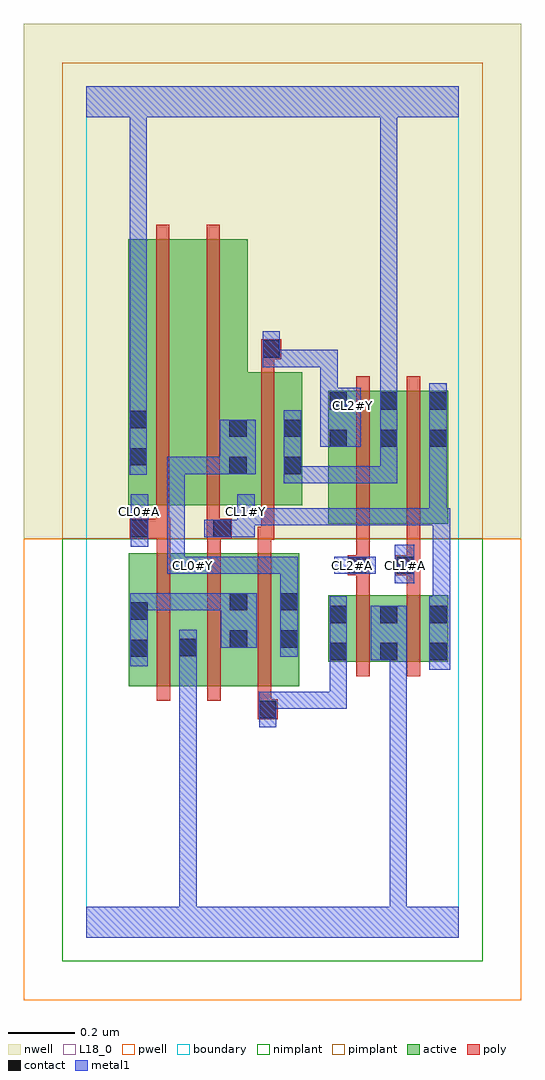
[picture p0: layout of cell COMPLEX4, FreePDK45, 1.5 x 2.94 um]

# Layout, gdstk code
import gdstk
lib = gdstk.Library(unit=1e-6, precision=1e-09)
def R(c, l, rs):  # rectangles x0, y0, x1, y1
    for r in rs: c.add(gdstk.rectangle(r[:2], r[2:], *l))
def A(c, l, x, y, w, h, nx, ny, dx, dy):  # array of equal rectangles
    R(c, l, [(x+i*dx, y+j*dy, x+i*dx+w, y+j*dy+h) for i in range(nx) for j in range(ny)])
active = (1, 0)
pwell = (2, 0)
nwell = (3, 0)
nimplant = (4, 0)
pimplant = (5, 0)
poly = (9, 0)
contact = (10, 0)
metal1 = (11, 0)
L18_0 = (18, 0)
boundary = (235, 0)

complex4 = lib.new_cell('COMPLEX4')
A(complex4, active, 0.276, 0.756, 0.06, 0.4, 3, 1, 0.152, 0)
R(complex4, active, [(0.128,0.756,0.188,1.156), (0.128,0.756,0.336,1.156), (0.276,0.756,0.488,1.156), (0.428,0.756,0.64,1.156), (0.728,0.83,0.788,1.03), (0.728,0.83,0.94,1.03), (0.88,0.83,1.088,1.03), (0.88,0.83,0.94,1.002), (1.028,0.83,1.088,1.03), (0.728,1.244,0.788,1.644), (0.728,1.244,0.94,1.644), (0.88,1.244,0.94,1.644), (0.88,1.244,1.088,1.644), (1.028,1.244,1.088,1.644), (0.126,1.3,0.306,2.1), (0.126,1.3,0.186,2.044), (0.306,1.3,0.486,2.1), (0.426,1.3,0.65,1.7), (0.426,1.3,0.486,1.766), (0.59,1.3,0.65,1.644)])
R(complex4, pwell, [(-0.188,-0.188,1.308,1.2)])
R(complex4, nwell, [(-0.188,1.2,1.308,2.748)])
R(complex4, nimplant, [(-0.072,-0.072,1.192,1.2)])
R(complex4, pimplant, [(-0.072,1.2,1.192,2.632)])
A(complex4, poly, 0.212, 0.712, 0.04, 0.488, 3, 1, 0.152, 0)
R(complex4, poly, [(0.516,0.656,0.576,0.716), (0.516,0.676,0.556,0.752), (0.812,0.786,0.852,1.074), (0.964,0.786,1.004,1.074), (0.812,1.034,0.852,1.13), (0.964,1.034,1.004,1.13), (0.786,1.09,0.852,1.15), (0.93,1.09,1.004,1.15), (0.812,1.11,0.852,1.24), (0.812,1.11,0.852,1.15), (0.812,1.11,0.852,1.15), (0.964,1.11,1.004,1.24), (0.964,1.11,1.004,1.15), (0.964,1.11,1.004,1.15), (0.212,1.16,0.252,1.24), (0.364,1.16,0.404,1.24), (0.516,1.16,0.556,1.236), (0.516,1.196,0.556,1.236), (0.516,1.196,0.556,1.236), (0.516,1.196,0.566,1.236), (0.526,1.196,0.566,1.296), (0.13,1.2,0.252,1.26), (0.362,1.2,0.438,1.26), (0.364,1.2,0.404,1.24), (0.364,1.2,0.404,1.24), (0.812,1.2,0.852,1.688), (0.964,1.2,1.004,1.688), (0.21,1.22,0.25,1.26), (0.21,1.22,0.25,1.26), (0.21,1.22,0.25,1.296), (0.362,1.22,0.402,1.296), (0.21,1.256,0.25,2.144), (0.362,1.256,0.402,2.144), (0.526,1.256,0.566,1.744), (0.526,1.704,0.566,1.78), (0.526,1.74,0.586,1.8)])
R(complex4, contact, [(0.52,0.66,0.572,0.712), (0.732,0.834,0.784,0.886), (0.884,0.834,0.936,0.886), (1.032,0.834,1.084,0.886), (0.132,0.844,0.184,0.896), (0.28,0.846,0.332,0.898), (0.432,0.872,0.484,0.924), (0.584,0.872,0.636,0.924), (0.732,0.946,0.784,0.998), (0.884,0.946,0.936,0.998), (1.032,0.946,1.084,0.998), (0.132,0.956,0.184,1.008), (0.432,0.984,0.484,1.036), (0.584,0.984,0.636,1.036), (0.79,1.094,0.842,1.146), (0.934,1.094,0.986,1.146), (0.134,1.204,0.186,1.256), (0.382,1.204,0.434,1.256), (0.43,1.394,0.482,1.446), (0.594,1.394,0.646,1.446), (0.13,1.42,0.182,1.472), (0.732,1.476,0.784,1.528), (0.884,1.476,0.936,1.528), (1.032,1.476,1.084,1.528), (0.43,1.506,0.482,1.558), (0.594,1.506,0.646,1.558), (0.13,1.532,0.182,1.584), (0.732,1.588,0.784,1.64), (0.884,1.588,0.936,1.64), (1.032,1.588,1.084,1.64), (0.53,1.744,0.582,1.796)])
R(complex4, metal1, [(0,0,1.12,0.092), (0.28,0.04,0.332,0.87), (0.912,0.04,0.964,0.886), (0.52,0.632,0.572,0.74), (0.52,0.688,0.622,0.74), (0.57,0.688,0.622,0.74), (0.57,0.688,0.622,0.74), (0.57,0.688,0.622,0.74), (0.57,0.688,0.784,0.74), (0.732,0.688,0.784,0.74), (0.732,0.688,0.784,0.74), (0.732,0.688,0.784,0.74), (0.732,0.688,0.784,0.858), (0.732,0.806,0.784,1.026), (1.032,0.806,1.094,1.026), (0.132,0.816,0.184,1.036), (0.28,0.818,0.332,0.87), (0.28,0.818,0.332,0.87), (0.28,0.818,0.332,0.87), (0.28,0.818,0.332,0.87), (0.28,0.818,0.332,0.87), (0.28,0.818,0.332,0.87), (0.28,0.818,0.332,0.87), (0.28,0.818,0.332,0.87), (0.28,0.818,0.332,0.87), (0.28,0.818,0.332,0.87), (0.28,0.818,0.332,0.87), (0.28,0.818,0.332,0.87), (0.28,0.818,0.332,0.926), (0.856,0.834,0.964,0.998), (0.912,0.834,0.964,0.886), (0.912,0.834,0.964,0.886), (0.912,0.834,0.964,0.886), (0.912,0.834,0.964,0.886), (0.912,0.834,0.964,0.886), (0.912,0.834,0.964,0.886), (0.912,0.834,0.964,0.886), (0.912,0.834,0.964,0.886), (0.912,0.834,0.964,0.886), (0.912,0.834,0.964,0.886), (0.912,0.834,0.964,0.886), (0.912,0.834,0.964,0.886), (0.912,0.834,0.964,0.886), (0.912,0.834,0.964,0.886), (0.912,0.834,0.964,0.886), (0.912,0.834,0.964,0.886), (0.584,0.844,0.636,1.064), (0.404,0.872,0.512,1.036), (1.042,0.974,1.094,1.292), (0.132,0.984,0.184,1.036), (0.132,0.984,0.184,1.036), (0.132,0.984,0.294,1.036), (0.242,0.984,0.294,1.036), (0.242,0.984,0.456,1.036), (0.404,0.984,0.456,1.036), (0.404,0.984,0.456,1.036), (0.584,1.012,0.636,1.146), (0.928,1.066,0.986,1.182), (0.244,1.094,0.296,1.146), (0.244,1.094,0.318,1.146), (0.244,1.094,0.296,1.446), (0.266,1.094,0.374,1.146), (0.322,1.094,0.462,1.146), (0.41,1.094,0.462,1.146), (0.41,1.094,0.636,1.146), (0.584,1.094,0.636,1.146), (0.584,1.094,0.636,1.146), (0.584,1.094,0.636,1.146), (0.746,1.094,0.87,1.146), (0.134,1.176,0.186,1.334), (0.354,1.204,0.462,1.256), (0.41,1.204,0.506,1.256), (0.454,1.204,0.506,1.334), (0.454,1.24,0.646,1.292), (0.594,1.24,0.646,1.292), (0.594,1.24,0.646,1.292), (0.594,1.24,0.646,1.292), (0.594,1.24,0.76,1.292), (0.708,1.24,0.76,1.292), (0.708,1.24,0.87,1.292), (0.818,1.24,0.87,1.292), (0.818,1.24,0.87,1.292), (0.818,1.24,0.87,1.292), (0.818,1.24,1.084,1.292), (1.032,1.24,1.084,1.5), (1.032,1.24,1.084,1.292), (1.032,1.24,1.084,1.292), (1.032,1.24,1.094,1.292), (1.042,1.24,1.094,1.292), (1.042,1.24,1.094,1.292), (0.594,1.366,0.646,1.586), (0.594,1.366,0.756,1.418), (0.704,1.366,0.756,1.418), (0.704,1.366,0.756,1.418), (0.704,1.366,0.756,1.418), (0.704,1.366,0.936,1.418), (0.884,1.366,0.936,1.418), (0.884,1.366,0.936,1.418), (0.884,1.366,0.936,1.418), (0.884,1.366,0.936,1.5), (0.13,1.392,0.182,1.612), (0.244,1.394,0.296,1.446), (0.244,1.394,0.296,1.446), (0.244,1.394,0.296,1.446), (0.244,1.394,0.454,1.446), (0.402,1.394,0.454,1.446), (0.402,1.394,0.454,1.446), (0.402,1.394,0.51,1.558), (0.884,1.448,0.936,1.668), (0.884,1.448,0.936,1.5), (0.884,1.448,0.936,1.5), (1.032,1.448,1.084,1.668), (0.704,1.476,0.826,1.654), (0.13,1.56,0.182,1.612), (0.13,1.56,0.182,1.612), (0.13,1.56,0.182,1.612), (0.13,1.56,0.182,1.612), (0.13,1.56,0.182,2.52), (0.704,1.602,0.756,1.768), (0.884,1.616,0.936,1.668), (0.884,1.616,0.936,1.668), (0.884,1.616,0.936,1.668), (0.884,1.616,0.936,1.668), (0.884,1.616,0.936,1.668), (0.884,1.616,0.936,1.668), (0.884,1.616,0.936,1.668), (0.884,1.616,0.936,1.668), (0.884,1.616,0.936,1.668), (0.884,1.616,0.936,1.668), (0.884,1.616,0.936,1.668), (0.884,1.616,0.936,1.668), (0.884,1.616,0.936,1.668), (0.884,1.616,0.936,1.668), (0.884,1.616,0.936,2.52), (0.53,1.716,0.62,1.768), (0.53,1.716,0.582,1.824), (0.568,1.716,0.62,1.768), (0.568,1.716,0.756,1.768), (0.704,1.716,0.756,1.768), (0,2.468,1.12,2.56), (0.13,2.468,0.182,2.52), (0.13,2.468,0.182,2.52), (0.13,2.468,0.182,2.52), (0.13,2.468,0.182,2.52), (0.884,2.468,0.936,2.52), (0.884,2.468,0.936,2.52)])
R(complex4, L18_0, [(0,0,1.12,0.092), (0.28,0.04,0.332,0.87), (0.912,0.04,0.964,0.886), (0.52,0.632,0.572,0.74), (0.52,0.688,0.622,0.74), (0.57,0.688,0.622,0.74), (0.57,0.688,0.622,0.74), (0.57,0.688,0.622,0.74), (0.57,0.688,0.784,0.74), (0.732,0.688,0.784,0.74), (0.732,0.688,0.784,0.74), (0.732,0.688,0.784,0.74), (0.732,0.688,0.784,0.858), (0.732,0.806,0.784,1.026), (1.032,0.806,1.094,1.026), (0.28,0.818,0.332,0.87), (0.28,0.818,0.332,0.87), (0.28,0.818,0.332,0.87), (0.28,0.818,0.332,0.87), (0.28,0.818,0.332,0.87), (0.28,0.818,0.332,0.87), (0.28,0.818,0.332,0.87), (0.28,0.818,0.332,0.87), (0.28,0.818,0.332,0.87), (0.28,0.818,0.332,0.87), (0.28,0.818,0.332,0.87), (0.28,0.818,0.332,0.87), (0.28,0.818,0.332,0.926), (0.856,0.834,0.964,0.998), (0.912,0.834,0.964,0.886), (0.912,0.834,0.964,0.886), (0.912,0.834,0.964,0.886), (0.912,0.834,0.964,0.886), (0.912,0.834,0.964,0.886), (0.912,0.834,0.964,0.886), (0.912,0.834,0.964,0.886), (0.912,0.834,0.964,0.886), (0.912,0.834,0.964,0.886), (0.912,0.834,0.964,0.886), (0.912,0.834,0.964,0.886), (0.912,0.834,0.964,0.886), (0.912,0.834,0.964,0.886), (0.912,0.834,0.964,0.886), (0.912,0.834,0.964,0.886), (0.912,0.834,0.964,0.886), (0.584,0.844,0.636,1.064), (1.042,0.974,1.094,1.292), (0.584,1.012,0.636,1.146), (0.928,1.066,0.986,1.182), (0.244,1.094,0.296,1.146), (0.244,1.094,0.296,1.446), (0.244,1.094,0.318,1.146), (0.266,1.094,0.374,1.146), (0.294,1.094,0.346,1.146), (0.322,1.094,0.462,1.146), (0.41,1.094,0.462,1.146), (0.41,1.094,0.636,1.146), (0.584,1.094,0.636,1.146), (0.584,1.094,0.636,1.146), (0.584,1.094,0.636,1.146), (0.746,1.094,0.87,1.146), (0.774,1.094,0.826,1.146), (0.934,1.094,0.986,1.146), (0.134,1.176,0.186,1.334), (0.354,1.204,0.462,1.256), (0.41,1.204,0.506,1.256), (0.454,1.204,0.506,1.334), (0.454,1.24,0.646,1.292), (0.594,1.24,0.646,1.292), (0.594,1.24,0.646,1.292), (0.594,1.24,0.646,1.292), (0.594,1.24,0.76,1.292), (0.708,1.24,0.76,1.292), (0.708,1.24,0.87,1.292), (0.818,1.24,0.87,1.292), (0.818,1.24,0.87,1.292), (0.818,1.24,0.87,1.292), (0.818,1.24,1.084,1.292), (1.032,1.24,1.084,1.292), (1.032,1.24,1.084,1.292), (1.032,1.24,1.094,1.292), (1.032,1.24,1.084,1.5), (1.042,1.24,1.094,1.292), (1.042,1.24,1.094,1.292), (0.134,1.254,0.186,1.306), (0.454,1.254,0.506,1.306), (0.594,1.366,0.646,1.586), (0.594,1.366,0.756,1.418), (0.704,1.366,0.756,1.418), (0.704,1.366,0.756,1.418), (0.704,1.366,0.756,1.418), (0.704,1.366,0.936,1.418), (0.884,1.366,0.936,1.418), (0.884,1.366,0.936,1.418), (0.884,1.366,0.936,1.418), (0.884,1.366,0.936,1.5), (0.13,1.392,0.182,1.612), (0.244,1.394,0.296,1.446), (0.244,1.394,0.296,1.446), (0.244,1.394,0.296,1.446), (0.244,1.394,0.454,1.446), (0.402,1.394,0.454,1.446), (0.402,1.394,0.454,1.446), (0.402,1.394,0.51,1.558), (0.884,1.448,0.936,1.668), (0.884,1.448,0.936,1.5), (0.884,1.448,0.936,1.5), (1.032,1.448,1.084,1.668), (0.704,1.476,0.826,1.654), (0.13,1.56,0.182,1.612), (0.13,1.56,0.182,1.612), (0.13,1.56,0.182,1.612), (0.13,1.56,0.182,1.612), (0.13,1.56,0.182,2.52), (0.774,1.574,0.826,1.626), (0.704,1.602,0.756,1.768), (0.884,1.616,0.936,1.668), (0.884,1.616,0.936,1.668), (0.884,1.616,0.936,1.668), (0.884,1.616,0.936,1.668), (0.884,1.616,0.936,1.668), (0.884,1.616,0.936,1.668), (0.884,1.616,0.936,1.668), (0.884,1.616,0.936,1.668), (0.884,1.616,0.936,1.668), (0.884,1.616,0.936,1.668), (0.884,1.616,0.936,1.668), (0.884,1.616,0.936,1.668), (0.884,1.616,0.936,1.668), (0.884,1.616,0.936,1.668), (0.884,1.616,0.936,2.52), (0.53,1.716,0.582,1.824), (0.53,1.716,0.62,1.768), (0.568,1.716,0.62,1.768), (0.568,1.716,0.756,1.768), (0.704,1.716,0.756,1.768), (0,2.468,1.12,2.56), (0.13,2.468,0.182,2.52), (0.13,2.468,0.182,2.52), (0.13,2.468,0.182,2.52), (0.13,2.468,0.182,2.52), (0.884,2.468,0.936,2.52), (0.884,2.468,0.936,2.52)])
R(complex4, boundary, [(0,0,1.12,2.56)])
complex4.add(gdstk.Label('CL0#A', (0.16,1.28), layer=11, texttype=0))
complex4.add(gdstk.Label('CL0#Y', (0.32,1.12), layer=11, texttype=0))
complex4.add(gdstk.Label('CL1#A', (0.96,1.12), layer=11, texttype=0))
complex4.add(gdstk.Label('CL1#Y', (0.48,1.28), layer=11, texttype=0))
complex4.add(gdstk.Label('CL2#A', (0.8,1.12), layer=11, texttype=0))
complex4.add(gdstk.Label('CL2#Y', (0.8,1.6), layer=11, texttype=0))

lib.write_gds('COMPLEX4.gds')
